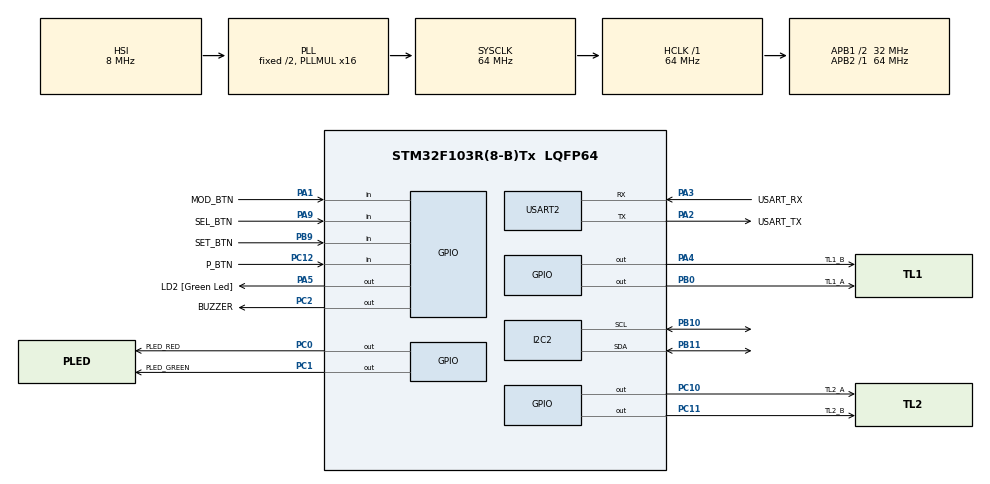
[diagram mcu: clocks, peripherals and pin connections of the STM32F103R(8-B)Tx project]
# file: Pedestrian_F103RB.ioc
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Mcu.Family=STM32F1
Mcu.Name=STM32F103R(8-B)Tx
Mcu.Package=LQFP64
NVIC.PriorityGroup=NVIC_PRIORITYGROUP_4
NVIC.TIM2_IRQn=true\:0\:0\:false\:false\:true\:true\:true\:true
PA1.GPIO_Label=MOD_BTN
PA1.GPIO_PuPd=GPIO_PULLUP
PA1.Signal=GPIO_Input
PA13.GPIO_Label=TMS
PA13.Mode=Serial_Wire
PA13.Signal=SYS_JTMS-SWDIO
PA14.GPIO_Label=TCK
PA14.Mode=Serial_Wire
PA14.Signal=SYS_JTCK-SWCLK
PA2.GPIO_Label=USART_TX
PA2.GPIO_Mode=GPIO_MODE_AF_PP
PA2.GPIO_PuPd=GPIO_NOPULL
PA2.GPIO_Speed=GPIO_SPEED_FREQ_LOW
PA2.Mode=Asynchronous
PA2.Signal=USART2_TX
PA3.GPIO_Label=USART_RX
PA3.GPIO_Mode=GPIO_MODE_AF_PP
PA3.GPIO_PuPd=GPIO_NOPULL
PA3.GPIO_Speed=GPIO_SPEED_FREQ_LOW
PA3.Mode=Asynchronous
PA3.Signal=USART2_RX
PA4.GPIO_Label=TL1_B
PA4.Signal=GPIO_Output
PA5.GPIO_Label=LD2 [Green Led]
PA5.GPIO_ModeDefaultOutputPP=GPIO_MODE_OUTPUT_PP
PA5.GPIO_PuPd=GPIO_NOPULL
PA5.GPIO_Speed=GPIO_SPEED_FREQ_LOW
PA5.Signal=GPIO_Output
PA9.GPIO_Label=SEL_BTN
PA9.GPIO_PuPd=GPIO_PULLUP
PA9.Signal=GPIO_Input
PB0.GPIO_Label=TL1_A
PB0.Signal=GPIO_Output
PB10.Mode=I2C
PB10.Signal=I2C2_SCL
PB11.Mode=I2C
PB11.Signal=I2C2_SDA
PB3.GPIO_Label=SWO
PB3.Signal=SYS_JTDO-TRACESWO
PB9.GPIO_Label=SET_BTN
PB9.GPIO_PuPd=GPIO_PULLUP
PB9.Signal=GPIO_Input
PC0.GPIO_Label=PLED_RED
PC0.Signal=GPIO_Output
PC1.GPIO_Label=PLED_GREEN
PC1.Signal=GPIO_Output
PC10.GPIO_Label=TL2_A
PC10.Signal=GPIO_Output
PC11.GPIO_Label=TL2_B
PC11.Signal=GPIO_Output
PC12.GPIO_Label=P_BTN
PC12.GPIO_PuPd=GPIO_PULLUP
PC12.Signal=GPIO_Input
PC14-OSC32_IN.Mode=LSE-External-Oscillator
PC14-OSC32_IN.Signal=RCC_OSC32_IN
PC15-OSC32_OUT.Mode=LSE-External-Oscillator
PC15-OSC32_OUT.Signal=RCC_OSC32_OUT
PC2.GPIO_Label=BUZZER
PC2.Signal=GPIO_Output
PD0-OSC_IN.Mode=HSE-External-Clock-Source
PD0-OSC_IN.Signal=RCC_OSC_IN
PD1-OSC_OUT.Mode=HSE-External-Clock-Source
PD1-OSC_OUT.Signal=RCC_OSC_OUT
ProjectManager.HeapSize=0x200
ProjectManager.StackSize=0x400
ProjectManager.TargetToolchain=STM32CubeIDE
RCC.AHBFreq_Value=64000000
RCC.APB1CLKDivider=RCC_HCLK_DIV2
RCC.APB1Freq_Value=32000000
RCC.APB1TimFreq_Value=64000000
RCC.APB2Freq_Value=64000000
RCC.APB2TimFreq_Value=64000000
RCC.HCLKFreq_Value=64000000
RCC.PLLMUL=RCC_PLL_MUL16
RCC.RTCClockSelection=RCC_RTCCLKSOURCE_LSE
RCC.SYSCLKFreq_VALUE=64000000
RCC.SYSCLKSource=RCC_SYSCLKSOURCE_PLLCLK
RCC.USBFreq_Value=64000000
TIM2.Period=9
TIM2.Prescaler=63999
USART2.VirtualMode=VM_ASYNC
VP_TIM2_VS_ClockSourceINT.Mode=Internal
board=NUCLEO-F103RB

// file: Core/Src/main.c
/* USER CODE BEGIN Header */
/**
  ******************************************************************************
  * @file           : main.c
  * @brief          : Main program body
  ******************************************************************************
  * @attention
  *
  * Copyright (c) 2023 STMicroelectronics.
  * All rights reserved.
  *
  * This software is licensed under terms that can be found in the LICENSE file
  * in the root directory of this software component.
  * If no LICENSE file comes with this software, it is provided AS-IS.
  *
  ******************************************************************************
  */
/* USER CODE END Header */
#include "main.h"

/* USER CODE BEGIN Includes */
#include "scheduler.h"
#include "input_processing.h"
#include "traffic_light.h"
#include "stdio.h"
#include "string.h"
#include "i2c-lcd.h"
/* USER CODE END Includes */

I2C_HandleTypeDef hi2c2;

TIM_HandleTypeDef htim2;

UART_HandleTypeDef huart2;

/* USER CODE BEGIN PV */
char msggg[]= "hello";
/* USER CODE END PV */

void SystemClock_Config(void);
static void MX_GPIO_Init(void);
static void MX_USART2_UART_Init(void);
static void MX_TIM2_Init(void);
static void MX_I2C2_Init(void);
/* USER CODE BEGIN PFP */
void blinkingLED(void);
void toggleBuzzer(void);
void readInputAndProcessing(void);
/* USER CODE END PFP */

int main(void)
{

  /* MCU Configuration--------------------------------------------------------*/

  /* Reset of all peripherals, Initializes the Flash interface and the Systick. */
  HAL_Init();

  /* Configure the system clock */
  SystemClock_Config();

  /* Initialize all configured peripherals */
  MX_GPIO_Init();
  MX_USART2_UART_Init();
  MX_TIM2_Init();
  MX_I2C2_Init();
  /* USER CODE BEGIN 2 */
  lcd_init();
  SCH_Init();

  inputReadingInit();
  inputProcessingInit(&huart2);

  //SCH_Add_Task(blinkingLED, 10, 1000);
  SCH_Add_Task(readInputAndProcessing, 0, 10);
  SCH_Add_Task(runStateFSM, 10, 10);
  //SCH_Add_Task(toggleBuzzer, 10, 500);
  //SCH_Add_Task(displayPLED, 20, 20);

  HAL_TIM_Base_Start_IT(&htim2);
  /* USER CODE END 2 */

  /* Infinite loop */
  /* USER CODE BEGIN WHILE */
  while (1)
  {
	  SCH_Dispatch_Tasks();
    /* USER CODE END WHILE */

  }
}

void SystemClock_Config(void)
{
  RCC_OscInitTypeDef RCC_OscInitStruct = {0};
  RCC_ClkInitTypeDef RCC_ClkInitStruct = {0};

  /** Initializes the RCC Oscillators according to the specified parameters
  * in the RCC_OscInitTypeDef structure.
  */
  RCC_OscInitStruct.OscillatorType = RCC_OSCILLATORTYPE_HSI;
  RCC_OscInitStruct.HSIState = RCC_HSI_ON;
  RCC_OscInitStruct.HSICalibrationValue = RCC_HSICALIBRATION_DEFAULT;
  RCC_OscInitStruct.PLL.PLLState = RCC_PLL_ON;
  RCC_OscInitStruct.PLL.PLLSource = RCC_PLLSOURCE_HSI_DIV2;
  RCC_OscInitStruct.PLL.PLLMUL = RCC_PLL_MUL16;
  if (HAL_RCC_OscConfig(&RCC_OscInitStruct) != HAL_OK)
  {
    Error_Handler();
  }

  /** Initializes the CPU, AHB and APB buses clocks
  */
  RCC_ClkInitStruct.ClockType = RCC_CLOCKTYPE_HCLK|RCC_CLOCKTYPE_SYSCLK
                              |RCC_CLOCKTYPE_PCLK1|RCC_CLOCKTYPE_PCLK2;
  RCC_ClkInitStruct.SYSCLKSource = RCC_SYSCLKSOURCE_PLLCLK;
  RCC_ClkInitStruct.AHBCLKDivider = RCC_SYSCLK_DIV1;
  RCC_ClkInitStruct.APB1CLKDivider = RCC_HCLK_DIV2;
  RCC_ClkInitStruct.APB2CLKDivider = RCC_HCLK_DIV1;

  if (HAL_RCC_ClockConfig(&RCC_ClkInitStruct, FLASH_LATENCY_2) != HAL_OK)
  {
    Error_Handler();
  }
}

static void MX_I2C2_Init(void)
{

  hi2c2.Instance = I2C2;
  hi2c2.Init.ClockSpeed = 100000;
  hi2c2.Init.DutyCycle = I2C_DUTYCYCLE_2;
  hi2c2.Init.OwnAddress1 = 0;
  hi2c2.Init.AddressingMode = I2C_ADDRESSINGMODE_7BIT;
  hi2c2.Init.DualAddressMode = I2C_DUALADDRESS_DISABLE;
  hi2c2.Init.OwnAddress2 = 0;
  hi2c2.Init.GeneralCallMode = I2C_GENERALCALL_DISABLE;
  hi2c2.Init.NoStretchMode = I2C_NOSTRETCH_DISABLE;
  if (HAL_I2C_Init(&hi2c2) != HAL_OK)
  {
    Error_Handler();
  }

}

static void MX_TIM2_Init(void)
{

  TIM_ClockConfigTypeDef sClockSourceConfig = {0};
  TIM_MasterConfigTypeDef sMasterConfig = {0};

  htim2.Instance = TIM2;
  htim2.Init.Prescaler = 63999;
  htim2.Init.CounterMode = TIM_COUNTERMODE_UP;
  htim2.Init.Period = 9;
  htim2.Init.ClockDivision = TIM_CLOCKDIVISION_DIV1;
  htim2.Init.AutoReloadPreload = TIM_AUTORELOAD_PRELOAD_DISABLE;
  if (HAL_TIM_Base_Init(&htim2) != HAL_OK)
  {
    Error_Handler();
  }
  sClockSourceConfig.ClockSource = TIM_CLOCKSOURCE_INTERNAL;
  if (HAL_TIM_ConfigClockSource(&htim2, &sClockSourceConfig) != HAL_OK)
  {
    Error_Handler();
  }
  sMasterConfig.MasterOutputTrigger = TIM_TRGO_RESET;
  sMasterConfig.MasterSlaveMode = TIM_MASTERSLAVEMODE_DISABLE;
  if (HAL_TIMEx_MasterConfigSynchronization(&htim2, &sMasterConfig) != HAL_OK)
  {
    Error_Handler();
  }

}

static void MX_USART2_UART_Init(void)
{

  huart2.Instance = USART2;
  huart2.Init.BaudRate = 115200;
  huart2.Init.WordLength = UART_WORDLENGTH_8B;
  huart2.Init.StopBits = UART_STOPBITS_1;
  huart2.Init.Parity = UART_PARITY_NONE;
  huart2.Init.Mode = UART_MODE_TX_RX;
  huart2.Init.HwFlowCtl = UART_HWCONTROL_NONE;
  huart2.Init.OverSampling = UART_OVERSAMPLING_16;
  if (HAL_UART_Init(&huart2) != HAL_OK)
  {
    Error_Handler();
  }

}

static void MX_GPIO_Init(void)
{
  GPIO_InitTypeDef GPIO_InitStruct = {0};

  /* GPIO Ports Clock Enable */
  __HAL_RCC_GPIOC_CLK_ENABLE();
  __HAL_RCC_GPIOD_CLK_ENABLE();
  __HAL_RCC_GPIOA_CLK_ENABLE();
  __HAL_RCC_GPIOB_CLK_ENABLE();

  /*Configure GPIO pin Output Level */
  HAL_GPIO_WritePin(GPIOC, PLED_RED_Pin|PLED_GREEN_Pin|BUZZER_Pin|TL2_A_Pin
                          |TL2_B_Pin, GPIO_PIN_RESET);

  /*Configure GPIO pin Output Level */
  HAL_GPIO_WritePin(GPIOA, TL1_B_Pin|LD2_Pin, GPIO_PIN_RESET);

  /*Configure GPIO pin Output Level */
  HAL_GPIO_WritePin(TL1_A_GPIO_Port, TL1_A_Pin, GPIO_PIN_RESET);

  /*Configure GPIO pins : PLED_RED_Pin PLED_GREEN_Pin BUZZER_Pin TL2_A_Pin
                           TL2_B_Pin */
  GPIO_InitStruct.Pin = PLED_RED_Pin|PLED_GREEN_Pin|BUZZER_Pin|TL2_A_Pin
                          |TL2_B_Pin;
  GPIO_InitStruct.Mode = GPIO_MODE_OUTPUT_PP;
  GPIO_InitStruct.Pull = GPIO_NOPULL;
  GPIO_InitStruct.Speed = GPIO_SPEED_FREQ_LOW;
  HAL_GPIO_Init(GPIOC, &GPIO_InitStruct);

  /*Configure GPIO pins : MOD_BTN_Pin SEL_BTN_Pin */
  GPIO_InitStruct.Pin = MOD_BTN_Pin|SEL_BTN_Pin;
  GPIO_InitStruct.Mode = GPIO_MODE_INPUT;
  GPIO_InitStruct.Pull = GPIO_PULLUP;
  HAL_GPIO_Init(GPIOA, &GPIO_InitStruct);

  /*Configure GPIO pins : TL1_B_Pin LD2_Pin */
  GPIO_InitStruct.Pin = TL1_B_Pin|LD2_Pin;
  GPIO_InitStruct.Mode = GPIO_MODE_OUTPUT_PP;
  GPIO_InitStruct.Pull = GPIO_NOPULL;
  GPIO_InitStruct.Speed = GPIO_SPEED_FREQ_LOW;
  HAL_GPIO_Init(GPIOA, &GPIO_InitStruct);

  /*Configure GPIO pin : TL1_A_Pin */
  GPIO_InitStruct.Pin = TL1_A_Pin;
  GPIO_InitStruct.Mode = GPIO_MODE_OUTPUT_PP;
  GPIO_InitStruct.Pull = GPIO_NOPULL;
  GPIO_InitStruct.Speed = GPIO_SPEED_FREQ_LOW;
  HAL_GPIO_Init(TL1_A_GPIO_Port, &GPIO_InitStruct);

  /*Configure GPIO pin : P_BTN_Pin */
  GPIO_InitStruct.Pin = P_BTN_Pin;
  GPIO_InitStruct.Mode = GPIO_MODE_INPUT;
  GPIO_InitStruct.Pull = GPIO_PULLUP;
  HAL_GPIO_Init(P_BTN_GPIO_Port, &GPIO_InitStruct);

  /*Configure GPIO pin : SET_BTN_Pin */
  GPIO_InitStruct.Pin = SET_BTN_Pin;
  GPIO_InitStruct.Mode = GPIO_MODE_INPUT;
  GPIO_InitStruct.Pull = GPIO_PULLUP;
  HAL_GPIO_Init(SET_BTN_GPIO_Port, &GPIO_InitStruct);

}

/* USER CODE BEGIN 4 */
void HAL_TIM_PeriodElapsedCallback(TIM_HandleTypeDef *htim){
	SCH_Update();
}
void blinkingLED(void){
	HAL_GPIO_TogglePin(LD2_GPIO_Port, LD2_Pin);
}
void toggleBuzzer(void){
	HAL_GPIO_TogglePin(BUZZER_GPIO_Port, BUZZER_Pin);
}
void readInputAndProcessing(void){
	handlePedestrianButton();
	handleSelectModeButton();
	handleModifyButton();
	handleSetValueButton();
}
/* USER CODE END 4 */

void Error_Handler(void)
{
  __disable_irq();
  while (1)
  {
  }
}
